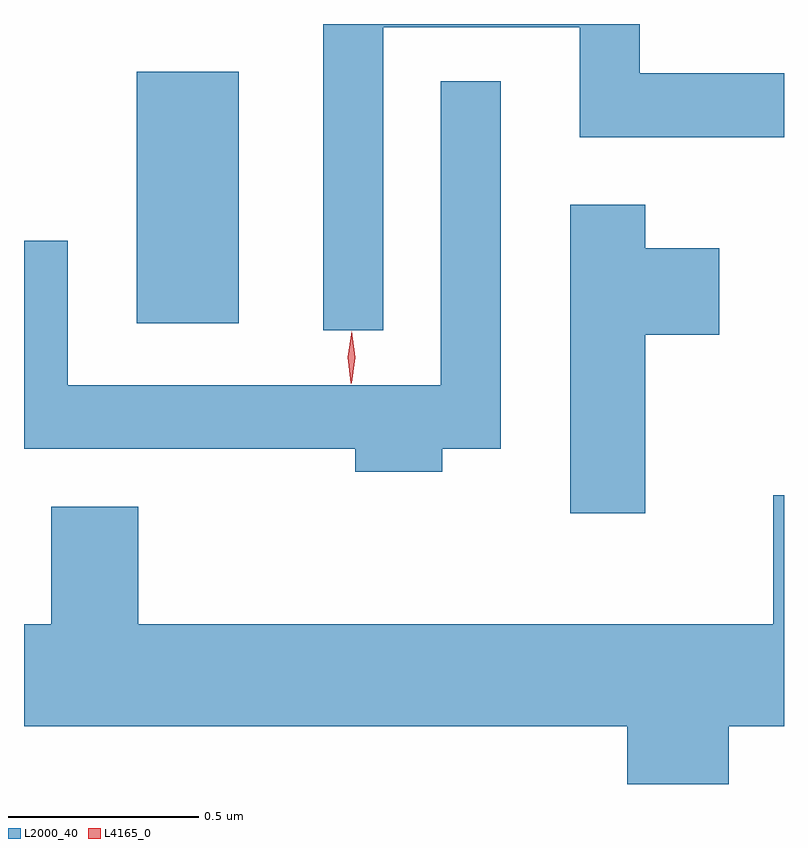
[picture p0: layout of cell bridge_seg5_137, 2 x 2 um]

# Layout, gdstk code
import gdstk
lib = gdstk.Library(unit=1e-6, precision=1e-09)
def R(c, l, rs):  # rectangles x0, y0, x1, y1
    for r in rs: c.add(gdstk.rectangle(r[:2], r[2:], *l))
def P(c, l, *ps):  # polygons
    for p in ps: c.add(gdstk.Polygon(p, *l))
L2000_40 = (2000, 40)
L4165_0 = (4165, 0)

bridge_seg5_137 = lib.new_cell('bridge_seg5_137')
R(bridge_seg5_137, L2000_40, [(1192.806,1420.116,1193.074,1420.779)])
P(bridge_seg5_137, L2000_40, [(1193.454,1420.896),(1193.971,1420.896),(1193.971,1420.606),(1194.509,1420.606),(1194.509,1420.774),(1194.129,1420.774),(1194.129,1420.904),(1193.296,1420.904),(1193.296,1420.098),(1193.454,1420.098)],
  [(1193.609,1419.786),(1193.764,1419.786),(1193.764,1420.753),(1193.606,1420.753),(1193.606,1419.954),(1192.624,1419.954),(1192.624,1420.333),(1192.509,1420.333),(1192.509,1419.786),(1193.381,1419.786),(1193.381,1419.726),(1193.609,1419.726)],
  [(1194.144,1420.086),(1194.339,1420.086),(1194.339,1420.314),(1194.144,1420.314),(1194.144,1420.429),(1193.946,1420.429),(1193.946,1419.616),(1194.144,1419.616)],
  [(1194.364,1419.056),(1194.509,1419.056),(1194.509,1419.664),(1194.481,1419.664),(1194.481,1419.324),(1192.809,1419.324),(1192.809,1419.634),(1192.581,1419.634),(1192.581,1419.324),(1192.509,1419.324),(1192.509,1419.056),(1194.096,1419.056),(1194.096,1418.904),(1194.364,1418.904)])
P(bridge_seg5_137, L4165_0, [(1193.37,1419.96),(1193.37,1419.96),(1193.361,1420.026),(1193.371,1420.092),(1193.372,1420.093),(1193.372,1420.092),(1193.381,1420.026),(1193.371,1419.96)],
  [(1193.37,1419.957),(1193.369,1419.958),(1193.361,1420.027),(1193.371,1420.096),(1193.372,1420.096),(1193.372,1420.096),(1193.381,1420.027),(1193.37,1419.958)])

lib.write_gds('bridge_seg5_137.gds')
